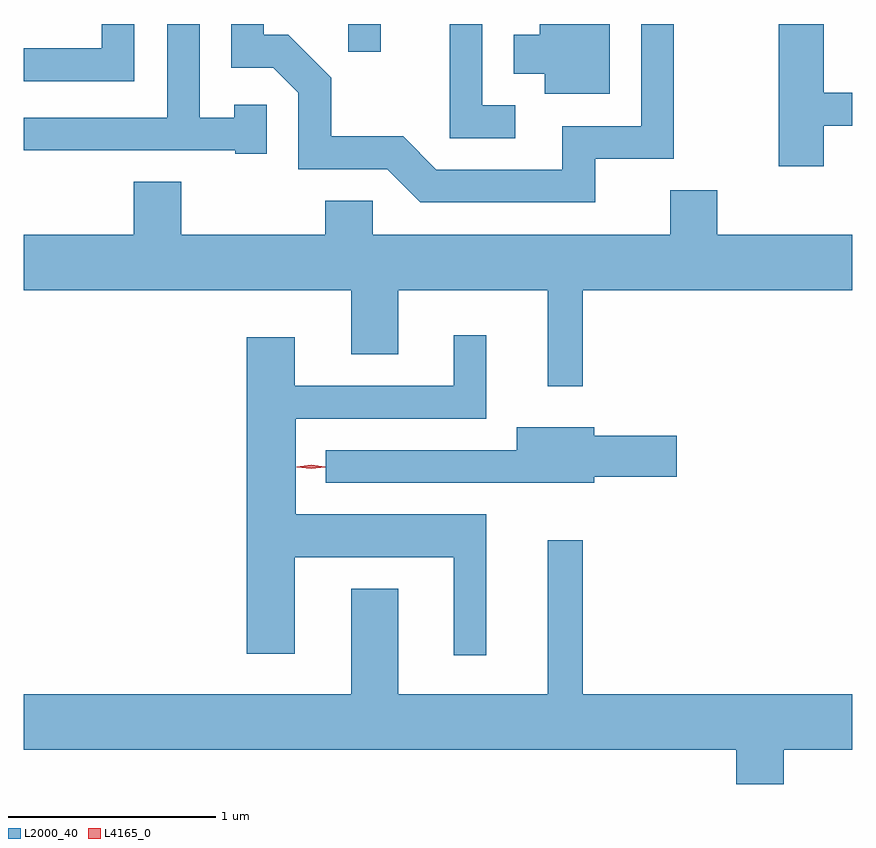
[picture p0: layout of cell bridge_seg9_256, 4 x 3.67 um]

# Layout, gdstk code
import gdstk
lib = gdstk.Library(unit=1e-6, precision=1e-09)
def R(c, l, rs):  # rectangles x0, y0, x1, y1
    for r in rs: c.add(gdstk.rectangle(r[:2], r[2:], *l))
def P(c, l, *ps):  # polygons
    for p in ps: c.add(gdstk.Polygon(p, *l))
L2000_40 = (2000, 40)
L4165_0 = (4165, 0)

bridge_seg9_256 = lib.new_cell('bridge_seg9_256')
R(bridge_seg9_256, L2000_40, [(887.706,2028.488,887.864,2028.622)])
P(bridge_seg9_256, L2000_40, [(888.899,2027.971),(889.279,2027.971),(889.279,2028.622),(889.121,2028.622),(889.121,2028.129),(888.741,2028.129),(888.741,2027.919),(888.132,2027.919),(887.972,2028.079),(887.624,2028.079),(887.624,2028.362),(887.417,2028.569),(887.299,2028.569),(887.299,2028.622),(887.141,2028.622),(887.141,2028.411),(887.344,2028.411),(887.466,2028.289),(887.466,2027.921),(887.894,2027.921),(888.054,2027.761),(888.899,2027.761)],
  [(888.969,2028.622),(888.631,2028.622),(888.631,2028.569),(888.506,2028.569),(888.506,2028.381),(888.656,2028.381),(888.656,2028.286),(888.969,2028.286)],
  [(890.004,2028.131),(890.14,2028.131),(890.14,2028.289),(890.004,2028.289),(890.004,2028.622),(889.786,2028.622),(889.786,2027.936),(890.004,2027.936)],
  [(886.674,2028.622),(886.516,2028.622),(886.516,2028.504),(886.14,2028.504),(886.14,2028.346),(886.674,2028.346)],
  [(888.513,2028.229),(888.354,2028.229),(888.354,2028.622),(888.196,2028.622),(888.196,2028.071),(888.513,2028.071)],
  [(887.314,2028.233),(887.156,2028.233),(887.156,2028.169),(886.989,2028.169),(886.989,2028.622),(886.831,2028.622),(886.831,2028.169),(886.14,2028.169),(886.14,2028.011),(887.16,2028.011),(887.16,2027.996),(887.314,2027.996)],
  [(888.839,2027.336),(890.14,2027.336),(890.14,2027.604),(889.489,2027.604),(889.489,2027.819),(889.261,2027.819),(889.261,2027.604),(887.824,2027.604),(887.824,2027.769),(887.596,2027.769),(887.596,2027.604),(886.899,2027.604),(886.899,2027.859),(886.671,2027.859),(886.671,2027.604),(886.14,2027.604),(886.14,2027.336),(887.721,2027.336),(887.721,2027.026),(887.949,2027.026),(887.949,2027.336),(888.671,2027.336),(888.671,2026.873),(888.839,2026.873)],
  [(888.374,2026.254),(887.454,2026.254),(887.454,2026.716),(888.374,2026.716),(888.374,2027.118),(888.216,2027.118),(888.216,2026.874),(887.449,2026.874),(887.449,2027.109),(887.216,2027.109),(887.216,2025.581),(887.449,2025.581),(887.449,2026.046),(888.216,2026.046),(888.216,2025.573),(888.374,2025.573)],
  [(888.894,2026.436),(889.294,2026.436),(889.294,2026.634),(888.894,2026.634),(888.894,2026.674),(888.521,2026.674),(888.521,2026.564),(887.598,2026.564),(887.598,2026.406),(888.894,2026.406)],
  [(889.809,2025.116),(890.14,2025.116),(890.14,2025.384),(888.839,2025.384),(888.839,2026.128),(888.671,2026.128),(888.671,2025.384),(887.949,2025.384),(887.949,2025.894),(887.721,2025.894),(887.721,2025.384),(886.14,2025.384),(886.14,2025.116),(889.581,2025.116),(889.581,2024.951),(889.809,2024.951)])
P(bridge_seg9_256, L4165_0, [(887.527,2026.473),(887.458,2026.482),(887.457,2026.483),(887.458,2026.483),(887.527,2026.493),(887.596,2026.483),(887.596,2026.483),(887.596,2026.482)],
  [(887.527,2026.473),(887.461,2026.483),(887.46,2026.483),(887.461,2026.484),(887.527,2026.493),(887.592,2026.484),(887.593,2026.483),(887.592,2026.483)])

lib.write_gds('bridge_seg9_256.gds')
